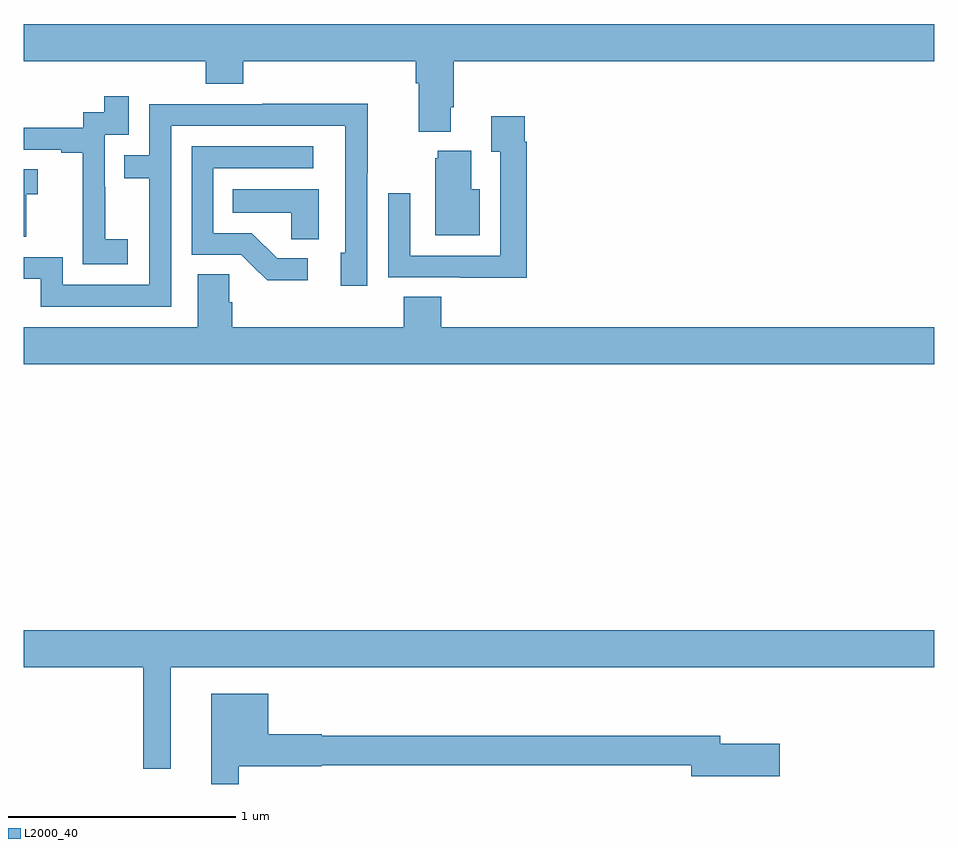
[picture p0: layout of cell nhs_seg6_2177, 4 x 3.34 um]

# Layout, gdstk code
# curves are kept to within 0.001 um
import gdstk
lib = gdstk.Library(unit=1e-6, precision=1e-09)
def P(c, l, *ps):  # polygons
    for p in ps: c.add(gdstk.Polygon(p, *l))
L2000_40 = (2000, 40)

nhs_seg6_2177 = lib.new_cell('nhs_seg6_2177')
P(nhs_seg6_2177, L2000_40, [(242.875,940.474),(242.888,940.474),(242.888,940.676),(245,940.676),(245,940.84),(241,940.84),(241,940.676),(241.799,940.676),(241.799,940.577),(241.964,940.577),(241.964,940.676),(242.723,940.676),(242.723,940.58),(242.735,940.58),(242.735,940.367),(242.875,940.367)],
  [(241.456,939.895),(241.358,939.895),(241.358,940.124),(241.356,940.124),(241.356,940.353),(241.461,940.353),(241.461,940.522),(241.353,940.522),(241.353,940.452),(241.26,940.452),(241.26,940.383),(241,940.383),(241,940.287),(241.163,940.287),(241.163,940.275),(241.259,940.275),(241.259,939.991),(241.258,939.991),(241.258,939.785),(241.456,939.785)],
  [(241.647,940.392),(242.412,940.392),(242.412,939.834),(242.393,939.834),(242.393,939.69),(242.508,939.69),(242.508,940.183),(242.511,940.183),(242.511,940.49),(242.047,940.49),(242.047,940.488),(241.551,940.488),(241.551,940.263),(241.441,940.263),(241.441,940.162),(241.551,940.162),(241.551,939.693),(241.17,939.693),(241.17,939.816),(241,939.816),(241,939.72),(241.073,939.72),(241.073,939.597),(241.647,939.597)],
  [(243.209,940.322),(243.202,940.322),(243.202,940.435),(243.053,940.435),(243.053,940.279),(243.093,940.279),(243.093,939.822),(242.697,939.822),(242.697,940.096),(242.601,940.096),(242.601,939.726),(242.917,939.726),(242.917,939.725),(243.209,939.725)],
  [(242.248,939.81),(242.113,939.81),(242.002,939.921),(241.833,939.921),(241.833,940.206),(242.272,940.206),(242.272,940.302),(241.737,940.302),(241.737,939.825),(241.956,939.825),(242.069,939.713),(242.248,939.713)],
  [(243.004,940.114),(242.965,940.114),(242.965,940.282),(242.819,940.282),(242.819,940.251),(242.807,940.251),(242.807,939.911),(243.004,939.911)],
  [(241.011,940.091),(241.06,940.091),(241.06,940.201),(241,940.201),(241,939.906),(241.011,939.906)],
  [(242.296,940.114),(241.918,940.114),(241.918,940.01),(242.175,940.01),(242.175,939.895),(242.296,939.895)],
  [(245,939.508),(242.834,939.508),(242.834,939.641),(242.669,939.641),(242.669,939.508),(241.916,939.508),(241.916,939.617),(241.902,939.617),(241.902,939.74),(241.763,939.74),(241.763,939.508),(241,939.508),(241,939.344),(245,939.344)],
  [(241.645,938.012),(245,938.012),(245,938.176),(241,938.176),(241,938.012),(241.524,938.012),(241.524,937.568),(241.645,937.568)],
  [(241.945,937.577),(242.31,937.577),(242.31,937.582),(243.932,937.582),(243.932,937.535),(244.321,937.535),(244.321,937.677),(244.06,937.677),(244.06,937.711),(242.31,937.711),(242.31,937.719),(242.074,937.719),(242.074,937.897),(241.823,937.897),(241.823,937.5),(241.945,937.5)])

lib.write_gds('nhs_seg6_2177.gds')
